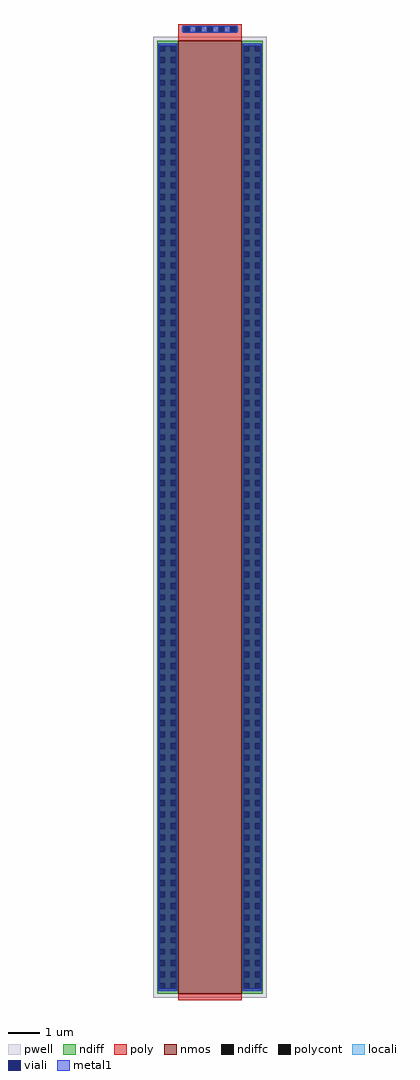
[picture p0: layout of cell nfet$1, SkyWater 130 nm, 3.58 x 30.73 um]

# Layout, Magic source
magic
tech sky130A
magscale 1 2
<< pwell >>
rect -1 14 715 6066
<< nmos >>
rect 157 40 557 6040
<< ndiff >>
rect 25 6009 157 6040
rect 25 5975 38 6009
rect 72 5975 110 6009
rect 144 5975 157 6009
rect 25 5937 157 5975
rect 25 5903 38 5937
rect 72 5903 110 5937
rect 144 5903 157 5937
rect 25 5865 157 5903
rect 25 5831 38 5865
rect 72 5831 110 5865
rect 144 5831 157 5865
rect 25 5793 157 5831
rect 25 5759 38 5793
rect 72 5759 110 5793
rect 144 5759 157 5793
rect 25 5721 157 5759
rect 25 5687 38 5721
rect 72 5687 110 5721
rect 144 5687 157 5721
rect 25 5649 157 5687
rect 25 5615 38 5649
rect 72 5615 110 5649
rect 144 5615 157 5649
rect 25 5577 157 5615
rect 25 5543 38 5577
rect 72 5543 110 5577
rect 144 5543 157 5577
rect 25 5505 157 5543
rect 25 5471 38 5505
rect 72 5471 110 5505
rect 144 5471 157 5505
rect 25 5433 157 5471
rect 25 5399 38 5433
rect 72 5399 110 5433
rect 144 5399 157 5433
rect 25 5361 157 5399
rect 25 5327 38 5361
rect 72 5327 110 5361
rect 144 5327 157 5361
rect 25 5289 157 5327
rect 25 5255 38 5289
rect 72 5255 110 5289
rect 144 5255 157 5289
rect 25 5217 157 5255
rect 25 5183 38 5217
rect 72 5183 110 5217
rect 144 5183 157 5217
rect 25 5145 157 5183
rect 25 5111 38 5145
rect 72 5111 110 5145
rect 144 5111 157 5145
rect 25 5073 157 5111
rect 25 5039 38 5073
rect 72 5039 110 5073
rect 144 5039 157 5073
rect 25 5001 157 5039
rect 25 4967 38 5001
rect 72 4967 110 5001
rect 144 4967 157 5001
rect 25 4929 157 4967
rect 25 4895 38 4929
rect 72 4895 110 4929
rect 144 4895 157 4929
rect 25 4857 157 4895
rect 25 4823 38 4857
rect 72 4823 110 4857
rect 144 4823 157 4857
rect 25 4785 157 4823
rect 25 4751 38 4785
rect 72 4751 110 4785
rect 144 4751 157 4785
rect 25 4713 157 4751
rect 25 4679 38 4713
rect 72 4679 110 4713
rect 144 4679 157 4713
rect 25 4641 157 4679
rect 25 4607 38 4641
rect 72 4607 110 4641
rect 144 4607 157 4641
rect 25 4569 157 4607
rect 25 4535 38 4569
rect 72 4535 110 4569
rect 144 4535 157 4569
rect 25 4497 157 4535
rect 25 4463 38 4497
rect 72 4463 110 4497
rect 144 4463 157 4497
rect 25 4425 157 4463
rect 25 4391 38 4425
rect 72 4391 110 4425
rect 144 4391 157 4425
rect 25 4353 157 4391
rect 25 4319 38 4353
rect 72 4319 110 4353
rect 144 4319 157 4353
rect 25 4281 157 4319
rect 25 4247 38 4281
rect 72 4247 110 4281
rect 144 4247 157 4281
rect 25 4209 157 4247
rect 25 4175 38 4209
rect 72 4175 110 4209
rect 144 4175 157 4209
rect 25 4137 157 4175
rect 25 4103 38 4137
rect 72 4103 110 4137
rect 144 4103 157 4137
rect 25 4065 157 4103
rect 25 4031 38 4065
rect 72 4031 110 4065
rect 144 4031 157 4065
rect 25 3993 157 4031
rect 25 3959 38 3993
rect 72 3959 110 3993
rect 144 3959 157 3993
rect 25 3921 157 3959
rect 25 3887 38 3921
rect 72 3887 110 3921
rect 144 3887 157 3921
rect 25 3849 157 3887
rect 25 3815 38 3849
rect 72 3815 110 3849
rect 144 3815 157 3849
rect 25 3777 157 3815
rect 25 3743 38 3777
rect 72 3743 110 3777
rect 144 3743 157 3777
rect 25 3705 157 3743
rect 25 3671 38 3705
rect 72 3671 110 3705
rect 144 3671 157 3705
rect 25 3633 157 3671
rect 25 3599 38 3633
rect 72 3599 110 3633
rect 144 3599 157 3633
rect 25 3561 157 3599
rect 25 3527 38 3561
rect 72 3527 110 3561
rect 144 3527 157 3561
rect 25 3489 157 3527
rect 25 3455 38 3489
rect 72 3455 110 3489
rect 144 3455 157 3489
rect 25 3417 157 3455
rect 25 3383 38 3417
rect 72 3383 110 3417
rect 144 3383 157 3417
rect 25 3345 157 3383
rect 25 3311 38 3345
rect 72 3311 110 3345
rect 144 3311 157 3345
rect 25 3273 157 3311
rect 25 3239 38 3273
rect 72 3239 110 3273
rect 144 3239 157 3273
rect 25 3201 157 3239
rect 25 3167 38 3201
rect 72 3167 110 3201
rect 144 3167 157 3201
rect 25 3129 157 3167
rect 25 3095 38 3129
rect 72 3095 110 3129
rect 144 3095 157 3129
rect 25 3057 157 3095
rect 25 3023 38 3057
rect 72 3023 110 3057
rect 144 3023 157 3057
rect 25 2985 157 3023
rect 25 2951 38 2985
rect 72 2951 110 2985
rect 144 2951 157 2985
rect 25 2913 157 2951
rect 25 2879 38 2913
rect 72 2879 110 2913
rect 144 2879 157 2913
rect 25 2841 157 2879
rect 25 2807 38 2841
rect 72 2807 110 2841
rect 144 2807 157 2841
rect 25 2769 157 2807
rect 25 2735 38 2769
rect 72 2735 110 2769
rect 144 2735 157 2769
rect 25 2697 157 2735
rect 25 2663 38 2697
rect 72 2663 110 2697
rect 144 2663 157 2697
rect 25 2625 157 2663
rect 25 2591 38 2625
rect 72 2591 110 2625
rect 144 2591 157 2625
rect 25 2553 157 2591
rect 25 2519 38 2553
rect 72 2519 110 2553
rect 144 2519 157 2553
rect 25 2481 157 2519
rect 25 2447 38 2481
rect 72 2447 110 2481
rect 144 2447 157 2481
rect 25 2409 157 2447
rect 25 2375 38 2409
rect 72 2375 110 2409
rect 144 2375 157 2409
rect 25 2337 157 2375
rect 25 2303 38 2337
rect 72 2303 110 2337
rect 144 2303 157 2337
rect 25 2265 157 2303
rect 25 2231 38 2265
rect 72 2231 110 2265
rect 144 2231 157 2265
rect 25 2193 157 2231
rect 25 2159 38 2193
rect 72 2159 110 2193
rect 144 2159 157 2193
rect 25 2121 157 2159
rect 25 2087 38 2121
rect 72 2087 110 2121
rect 144 2087 157 2121
rect 25 2049 157 2087
rect 25 2015 38 2049
rect 72 2015 110 2049
rect 144 2015 157 2049
rect 25 1977 157 2015
rect 25 1943 38 1977
rect 72 1943 110 1977
rect 144 1943 157 1977
rect 25 1905 157 1943
rect 25 1871 38 1905
rect 72 1871 110 1905
rect 144 1871 157 1905
rect 25 1833 157 1871
rect 25 1799 38 1833
rect 72 1799 110 1833
rect 144 1799 157 1833
rect 25 1761 157 1799
rect 25 1727 38 1761
rect 72 1727 110 1761
rect 144 1727 157 1761
rect 25 1689 157 1727
rect 25 1655 38 1689
rect 72 1655 110 1689
rect 144 1655 157 1689
rect 25 1617 157 1655
rect 25 1583 38 1617
rect 72 1583 110 1617
rect 144 1583 157 1617
rect 25 1545 157 1583
rect 25 1511 38 1545
rect 72 1511 110 1545
rect 144 1511 157 1545
rect 25 1473 157 1511
rect 25 1439 38 1473
rect 72 1439 110 1473
rect 144 1439 157 1473
rect 25 1401 157 1439
rect 25 1367 38 1401
rect 72 1367 110 1401
rect 144 1367 157 1401
rect 25 1329 157 1367
rect 25 1295 38 1329
rect 72 1295 110 1329
rect 144 1295 157 1329
rect 25 1257 157 1295
rect 25 1223 38 1257
rect 72 1223 110 1257
rect 144 1223 157 1257
rect 25 1185 157 1223
rect 25 1151 38 1185
rect 72 1151 110 1185
rect 144 1151 157 1185
rect 25 1113 157 1151
rect 25 1079 38 1113
rect 72 1079 110 1113
rect 144 1079 157 1113
rect 25 1041 157 1079
rect 25 1007 38 1041
rect 72 1007 110 1041
rect 144 1007 157 1041
rect 25 969 157 1007
rect 25 935 38 969
rect 72 935 110 969
rect 144 935 157 969
rect 25 897 157 935
rect 25 863 38 897
rect 72 863 110 897
rect 144 863 157 897
rect 25 825 157 863
rect 25 791 38 825
rect 72 791 110 825
rect 144 791 157 825
rect 25 753 157 791
rect 25 719 38 753
rect 72 719 110 753
rect 144 719 157 753
rect 25 681 157 719
rect 25 647 38 681
rect 72 647 110 681
rect 144 647 157 681
rect 25 609 157 647
rect 25 575 38 609
rect 72 575 110 609
rect 144 575 157 609
rect 25 537 157 575
rect 25 503 38 537
rect 72 503 110 537
rect 144 503 157 537
rect 25 465 157 503
rect 25 431 38 465
rect 72 431 110 465
rect 144 431 157 465
rect 25 393 157 431
rect 25 359 38 393
rect 72 359 110 393
rect 144 359 157 393
rect 25 321 157 359
rect 25 287 38 321
rect 72 287 110 321
rect 144 287 157 321
rect 25 249 157 287
rect 25 215 38 249
rect 72 215 110 249
rect 144 215 157 249
rect 25 177 157 215
rect 25 143 38 177
rect 72 143 110 177
rect 144 143 157 177
rect 25 105 157 143
rect 25 71 38 105
rect 72 71 110 105
rect 144 71 157 105
rect 25 40 157 71
rect 557 6009 689 6040
rect 557 5975 570 6009
rect 604 5975 642 6009
rect 676 5975 689 6009
rect 557 5937 689 5975
rect 557 5903 570 5937
rect 604 5903 642 5937
rect 676 5903 689 5937
rect 557 5865 689 5903
rect 557 5831 570 5865
rect 604 5831 642 5865
rect 676 5831 689 5865
rect 557 5793 689 5831
rect 557 5759 570 5793
rect 604 5759 642 5793
rect 676 5759 689 5793
rect 557 5721 689 5759
rect 557 5687 570 5721
rect 604 5687 642 5721
rect 676 5687 689 5721
rect 557 5649 689 5687
rect 557 5615 570 5649
rect 604 5615 642 5649
rect 676 5615 689 5649
rect 557 5577 689 5615
rect 557 5543 570 5577
rect 604 5543 642 5577
rect 676 5543 689 5577
rect 557 5505 689 5543
rect 557 5471 570 5505
rect 604 5471 642 5505
rect 676 5471 689 5505
rect 557 5433 689 5471
rect 557 5399 570 5433
rect 604 5399 642 5433
rect 676 5399 689 5433
rect 557 5361 689 5399
rect 557 5327 570 5361
rect 604 5327 642 5361
rect 676 5327 689 5361
rect 557 5289 689 5327
rect 557 5255 570 5289
rect 604 5255 642 5289
rect 676 5255 689 5289
rect 557 5217 689 5255
rect 557 5183 570 5217
rect 604 5183 642 5217
rect 676 5183 689 5217
rect 557 5145 689 5183
rect 557 5111 570 5145
rect 604 5111 642 5145
rect 676 5111 689 5145
rect 557 5073 689 5111
rect 557 5039 570 5073
rect 604 5039 642 5073
rect 676 5039 689 5073
rect 557 5001 689 5039
rect 557 4967 570 5001
rect 604 4967 642 5001
rect 676 4967 689 5001
rect 557 4929 689 4967
rect 557 4895 570 4929
rect 604 4895 642 4929
rect 676 4895 689 4929
rect 557 4857 689 4895
rect 557 4823 570 4857
rect 604 4823 642 4857
rect 676 4823 689 4857
rect 557 4785 689 4823
rect 557 4751 570 4785
rect 604 4751 642 4785
rect 676 4751 689 4785
rect 557 4713 689 4751
rect 557 4679 570 4713
rect 604 4679 642 4713
rect 676 4679 689 4713
rect 557 4641 689 4679
rect 557 4607 570 4641
rect 604 4607 642 4641
rect 676 4607 689 4641
rect 557 4569 689 4607
rect 557 4535 570 4569
rect 604 4535 642 4569
rect 676 4535 689 4569
rect 557 4497 689 4535
rect 557 4463 570 4497
rect 604 4463 642 4497
rect 676 4463 689 4497
rect 557 4425 689 4463
rect 557 4391 570 4425
rect 604 4391 642 4425
rect 676 4391 689 4425
rect 557 4353 689 4391
rect 557 4319 570 4353
rect 604 4319 642 4353
rect 676 4319 689 4353
rect 557 4281 689 4319
rect 557 4247 570 4281
rect 604 4247 642 4281
rect 676 4247 689 4281
rect 557 4209 689 4247
rect 557 4175 570 4209
rect 604 4175 642 4209
rect 676 4175 689 4209
rect 557 4137 689 4175
rect 557 4103 570 4137
rect 604 4103 642 4137
rect 676 4103 689 4137
rect 557 4065 689 4103
rect 557 4031 570 4065
rect 604 4031 642 4065
rect 676 4031 689 4065
rect 557 3993 689 4031
rect 557 3959 570 3993
rect 604 3959 642 3993
rect 676 3959 689 3993
rect 557 3921 689 3959
rect 557 3887 570 3921
rect 604 3887 642 3921
rect 676 3887 689 3921
rect 557 3849 689 3887
rect 557 3815 570 3849
rect 604 3815 642 3849
rect 676 3815 689 3849
rect 557 3777 689 3815
rect 557 3743 570 3777
rect 604 3743 642 3777
rect 676 3743 689 3777
rect 557 3705 689 3743
rect 557 3671 570 3705
rect 604 3671 642 3705
rect 676 3671 689 3705
rect 557 3633 689 3671
rect 557 3599 570 3633
rect 604 3599 642 3633
rect 676 3599 689 3633
rect 557 3561 689 3599
rect 557 3527 570 3561
rect 604 3527 642 3561
rect 676 3527 689 3561
rect 557 3489 689 3527
rect 557 3455 570 3489
rect 604 3455 642 3489
rect 676 3455 689 3489
rect 557 3417 689 3455
rect 557 3383 570 3417
rect 604 3383 642 3417
rect 676 3383 689 3417
rect 557 3345 689 3383
rect 557 3311 570 3345
rect 604 3311 642 3345
rect 676 3311 689 3345
rect 557 3273 689 3311
rect 557 3239 570 3273
rect 604 3239 642 3273
rect 676 3239 689 3273
rect 557 3201 689 3239
rect 557 3167 570 3201
rect 604 3167 642 3201
rect 676 3167 689 3201
rect 557 3129 689 3167
rect 557 3095 570 3129
rect 604 3095 642 3129
rect 676 3095 689 3129
rect 557 3057 689 3095
rect 557 3023 570 3057
rect 604 3023 642 3057
rect 676 3023 689 3057
rect 557 2985 689 3023
rect 557 2951 570 2985
rect 604 2951 642 2985
rect 676 2951 689 2985
rect 557 2913 689 2951
rect 557 2879 570 2913
rect 604 2879 642 2913
rect 676 2879 689 2913
rect 557 2841 689 2879
rect 557 2807 570 2841
rect 604 2807 642 2841
rect 676 2807 689 2841
rect 557 2769 689 2807
rect 557 2735 570 2769
rect 604 2735 642 2769
rect 676 2735 689 2769
rect 557 2697 689 2735
rect 557 2663 570 2697
rect 604 2663 642 2697
rect 676 2663 689 2697
rect 557 2625 689 2663
rect 557 2591 570 2625
rect 604 2591 642 2625
rect 676 2591 689 2625
rect 557 2553 689 2591
rect 557 2519 570 2553
rect 604 2519 642 2553
rect 676 2519 689 2553
rect 557 2481 689 2519
rect 557 2447 570 2481
rect 604 2447 642 2481
rect 676 2447 689 2481
rect 557 2409 689 2447
rect 557 2375 570 2409
rect 604 2375 642 2409
rect 676 2375 689 2409
rect 557 2337 689 2375
rect 557 2303 570 2337
rect 604 2303 642 2337
rect 676 2303 689 2337
rect 557 2265 689 2303
rect 557 2231 570 2265
rect 604 2231 642 2265
rect 676 2231 689 2265
rect 557 2193 689 2231
rect 557 2159 570 2193
rect 604 2159 642 2193
rect 676 2159 689 2193
rect 557 2121 689 2159
rect 557 2087 570 2121
rect 604 2087 642 2121
rect 676 2087 689 2121
rect 557 2049 689 2087
rect 557 2015 570 2049
rect 604 2015 642 2049
rect 676 2015 689 2049
rect 557 1977 689 2015
rect 557 1943 570 1977
rect 604 1943 642 1977
rect 676 1943 689 1977
rect 557 1905 689 1943
rect 557 1871 570 1905
rect 604 1871 642 1905
rect 676 1871 689 1905
rect 557 1833 689 1871
rect 557 1799 570 1833
rect 604 1799 642 1833
rect 676 1799 689 1833
rect 557 1761 689 1799
rect 557 1727 570 1761
rect 604 1727 642 1761
rect 676 1727 689 1761
rect 557 1689 689 1727
rect 557 1655 570 1689
rect 604 1655 642 1689
rect 676 1655 689 1689
rect 557 1617 689 1655
rect 557 1583 570 1617
rect 604 1583 642 1617
rect 676 1583 689 1617
rect 557 1545 689 1583
rect 557 1511 570 1545
rect 604 1511 642 1545
rect 676 1511 689 1545
rect 557 1473 689 1511
rect 557 1439 570 1473
rect 604 1439 642 1473
rect 676 1439 689 1473
rect 557 1401 689 1439
rect 557 1367 570 1401
rect 604 1367 642 1401
rect 676 1367 689 1401
rect 557 1329 689 1367
rect 557 1295 570 1329
rect 604 1295 642 1329
rect 676 1295 689 1329
rect 557 1257 689 1295
rect 557 1223 570 1257
rect 604 1223 642 1257
rect 676 1223 689 1257
rect 557 1185 689 1223
rect 557 1151 570 1185
rect 604 1151 642 1185
rect 676 1151 689 1185
rect 557 1113 689 1151
rect 557 1079 570 1113
rect 604 1079 642 1113
rect 676 1079 689 1113
rect 557 1041 689 1079
rect 557 1007 570 1041
rect 604 1007 642 1041
rect 676 1007 689 1041
rect 557 969 689 1007
rect 557 935 570 969
rect 604 935 642 969
rect 676 935 689 969
rect 557 897 689 935
rect 557 863 570 897
rect 604 863 642 897
rect 676 863 689 897
rect 557 825 689 863
rect 557 791 570 825
rect 604 791 642 825
rect 676 791 689 825
rect 557 753 689 791
rect 557 719 570 753
rect 604 719 642 753
rect 676 719 689 753
rect 557 681 689 719
rect 557 647 570 681
rect 604 647 642 681
rect 676 647 689 681
rect 557 609 689 647
rect 557 575 570 609
rect 604 575 642 609
rect 676 575 689 609
rect 557 537 689 575
rect 557 503 570 537
rect 604 503 642 537
rect 676 503 689 537
rect 557 465 689 503
rect 557 431 570 465
rect 604 431 642 465
rect 676 431 689 465
rect 557 393 689 431
rect 557 359 570 393
rect 604 359 642 393
rect 676 359 689 393
rect 557 321 689 359
rect 557 287 570 321
rect 604 287 642 321
rect 676 287 689 321
rect 557 249 689 287
rect 557 215 570 249
rect 604 215 642 249
rect 676 215 689 249
rect 557 177 689 215
rect 557 143 570 177
rect 604 143 642 177
rect 676 143 689 177
rect 557 105 689 143
rect 557 71 570 105
rect 604 71 642 105
rect 676 71 689 105
rect 557 40 689 71
<< ndiffc >>
rect 38 5975 72 6009
rect 110 5975 144 6009
rect 38 5903 72 5937
rect 110 5903 144 5937
rect 38 5831 72 5865
rect 110 5831 144 5865
rect 38 5759 72 5793
rect 110 5759 144 5793
rect 38 5687 72 5721
rect 110 5687 144 5721
rect 38 5615 72 5649
rect 110 5615 144 5649
rect 38 5543 72 5577
rect 110 5543 144 5577
rect 38 5471 72 5505
rect 110 5471 144 5505
rect 38 5399 72 5433
rect 110 5399 144 5433
rect 38 5327 72 5361
rect 110 5327 144 5361
rect 38 5255 72 5289
rect 110 5255 144 5289
rect 38 5183 72 5217
rect 110 5183 144 5217
rect 38 5111 72 5145
rect 110 5111 144 5145
rect 38 5039 72 5073
rect 110 5039 144 5073
rect 38 4967 72 5001
rect 110 4967 144 5001
rect 38 4895 72 4929
rect 110 4895 144 4929
rect 38 4823 72 4857
rect 110 4823 144 4857
rect 38 4751 72 4785
rect 110 4751 144 4785
rect 38 4679 72 4713
rect 110 4679 144 4713
rect 38 4607 72 4641
rect 110 4607 144 4641
rect 38 4535 72 4569
rect 110 4535 144 4569
rect 38 4463 72 4497
rect 110 4463 144 4497
rect 38 4391 72 4425
rect 110 4391 144 4425
rect 38 4319 72 4353
rect 110 4319 144 4353
rect 38 4247 72 4281
rect 110 4247 144 4281
rect 38 4175 72 4209
rect 110 4175 144 4209
rect 38 4103 72 4137
rect 110 4103 144 4137
rect 38 4031 72 4065
rect 110 4031 144 4065
rect 38 3959 72 3993
rect 110 3959 144 3993
rect 38 3887 72 3921
rect 110 3887 144 3921
rect 38 3815 72 3849
rect 110 3815 144 3849
rect 38 3743 72 3777
rect 110 3743 144 3777
rect 38 3671 72 3705
rect 110 3671 144 3705
rect 38 3599 72 3633
rect 110 3599 144 3633
rect 38 3527 72 3561
rect 110 3527 144 3561
rect 38 3455 72 3489
rect 110 3455 144 3489
rect 38 3383 72 3417
rect 110 3383 144 3417
rect 38 3311 72 3345
rect 110 3311 144 3345
rect 38 3239 72 3273
rect 110 3239 144 3273
rect 38 3167 72 3201
rect 110 3167 144 3201
rect 38 3095 72 3129
rect 110 3095 144 3129
rect 38 3023 72 3057
rect 110 3023 144 3057
rect 38 2951 72 2985
rect 110 2951 144 2985
rect 38 2879 72 2913
rect 110 2879 144 2913
rect 38 2807 72 2841
rect 110 2807 144 2841
rect 38 2735 72 2769
rect 110 2735 144 2769
rect 38 2663 72 2697
rect 110 2663 144 2697
rect 38 2591 72 2625
rect 110 2591 144 2625
rect 38 2519 72 2553
rect 110 2519 144 2553
rect 38 2447 72 2481
rect 110 2447 144 2481
rect 38 2375 72 2409
rect 110 2375 144 2409
rect 38 2303 72 2337
rect 110 2303 144 2337
rect 38 2231 72 2265
rect 110 2231 144 2265
rect 38 2159 72 2193
rect 110 2159 144 2193
rect 38 2087 72 2121
rect 110 2087 144 2121
rect 38 2015 72 2049
rect 110 2015 144 2049
rect 38 1943 72 1977
rect 110 1943 144 1977
rect 38 1871 72 1905
rect 110 1871 144 1905
rect 38 1799 72 1833
rect 110 1799 144 1833
rect 38 1727 72 1761
rect 110 1727 144 1761
rect 38 1655 72 1689
rect 110 1655 144 1689
rect 38 1583 72 1617
rect 110 1583 144 1617
rect 38 1511 72 1545
rect 110 1511 144 1545
rect 38 1439 72 1473
rect 110 1439 144 1473
rect 38 1367 72 1401
rect 110 1367 144 1401
rect 38 1295 72 1329
rect 110 1295 144 1329
rect 38 1223 72 1257
rect 110 1223 144 1257
rect 38 1151 72 1185
rect 110 1151 144 1185
rect 38 1079 72 1113
rect 110 1079 144 1113
rect 38 1007 72 1041
rect 110 1007 144 1041
rect 38 935 72 969
rect 110 935 144 969
rect 38 863 72 897
rect 110 863 144 897
rect 38 791 72 825
rect 110 791 144 825
rect 38 719 72 753
rect 110 719 144 753
rect 38 647 72 681
rect 110 647 144 681
rect 38 575 72 609
rect 110 575 144 609
rect 38 503 72 537
rect 110 503 144 537
rect 38 431 72 465
rect 110 431 144 465
rect 38 359 72 393
rect 110 359 144 393
rect 38 287 72 321
rect 110 287 144 321
rect 38 215 72 249
rect 110 215 144 249
rect 38 143 72 177
rect 110 143 144 177
rect 38 71 72 105
rect 110 71 144 105
rect 570 5975 604 6009
rect 642 5975 676 6009
rect 570 5903 604 5937
rect 642 5903 676 5937
rect 570 5831 604 5865
rect 642 5831 676 5865
rect 570 5759 604 5793
rect 642 5759 676 5793
rect 570 5687 604 5721
rect 642 5687 676 5721
rect 570 5615 604 5649
rect 642 5615 676 5649
rect 570 5543 604 5577
rect 642 5543 676 5577
rect 570 5471 604 5505
rect 642 5471 676 5505
rect 570 5399 604 5433
rect 642 5399 676 5433
rect 570 5327 604 5361
rect 642 5327 676 5361
rect 570 5255 604 5289
rect 642 5255 676 5289
rect 570 5183 604 5217
rect 642 5183 676 5217
rect 570 5111 604 5145
rect 642 5111 676 5145
rect 570 5039 604 5073
rect 642 5039 676 5073
rect 570 4967 604 5001
rect 642 4967 676 5001
rect 570 4895 604 4929
rect 642 4895 676 4929
rect 570 4823 604 4857
rect 642 4823 676 4857
rect 570 4751 604 4785
rect 642 4751 676 4785
rect 570 4679 604 4713
rect 642 4679 676 4713
rect 570 4607 604 4641
rect 642 4607 676 4641
rect 570 4535 604 4569
rect 642 4535 676 4569
rect 570 4463 604 4497
rect 642 4463 676 4497
rect 570 4391 604 4425
rect 642 4391 676 4425
rect 570 4319 604 4353
rect 642 4319 676 4353
rect 570 4247 604 4281
rect 642 4247 676 4281
rect 570 4175 604 4209
rect 642 4175 676 4209
rect 570 4103 604 4137
rect 642 4103 676 4137
rect 570 4031 604 4065
rect 642 4031 676 4065
rect 570 3959 604 3993
rect 642 3959 676 3993
rect 570 3887 604 3921
rect 642 3887 676 3921
rect 570 3815 604 3849
rect 642 3815 676 3849
rect 570 3743 604 3777
rect 642 3743 676 3777
rect 570 3671 604 3705
rect 642 3671 676 3705
rect 570 3599 604 3633
rect 642 3599 676 3633
rect 570 3527 604 3561
rect 642 3527 676 3561
rect 570 3455 604 3489
rect 642 3455 676 3489
rect 570 3383 604 3417
rect 642 3383 676 3417
rect 570 3311 604 3345
rect 642 3311 676 3345
rect 570 3239 604 3273
rect 642 3239 676 3273
rect 570 3167 604 3201
rect 642 3167 676 3201
rect 570 3095 604 3129
rect 642 3095 676 3129
rect 570 3023 604 3057
rect 642 3023 676 3057
rect 570 2951 604 2985
rect 642 2951 676 2985
rect 570 2879 604 2913
rect 642 2879 676 2913
rect 570 2807 604 2841
rect 642 2807 676 2841
rect 570 2735 604 2769
rect 642 2735 676 2769
rect 570 2663 604 2697
rect 642 2663 676 2697
rect 570 2591 604 2625
rect 642 2591 676 2625
rect 570 2519 604 2553
rect 642 2519 676 2553
rect 570 2447 604 2481
rect 642 2447 676 2481
rect 570 2375 604 2409
rect 642 2375 676 2409
rect 570 2303 604 2337
rect 642 2303 676 2337
rect 570 2231 604 2265
rect 642 2231 676 2265
rect 570 2159 604 2193
rect 642 2159 676 2193
rect 570 2087 604 2121
rect 642 2087 676 2121
rect 570 2015 604 2049
rect 642 2015 676 2049
rect 570 1943 604 1977
rect 642 1943 676 1977
rect 570 1871 604 1905
rect 642 1871 676 1905
rect 570 1799 604 1833
rect 642 1799 676 1833
rect 570 1727 604 1761
rect 642 1727 676 1761
rect 570 1655 604 1689
rect 642 1655 676 1689
rect 570 1583 604 1617
rect 642 1583 676 1617
rect 570 1511 604 1545
rect 642 1511 676 1545
rect 570 1439 604 1473
rect 642 1439 676 1473
rect 570 1367 604 1401
rect 642 1367 676 1401
rect 570 1295 604 1329
rect 642 1295 676 1329
rect 570 1223 604 1257
rect 642 1223 676 1257
rect 570 1151 604 1185
rect 642 1151 676 1185
rect 570 1079 604 1113
rect 642 1079 676 1113
rect 570 1007 604 1041
rect 642 1007 676 1041
rect 570 935 604 969
rect 642 935 676 969
rect 570 863 604 897
rect 642 863 676 897
rect 570 791 604 825
rect 642 791 676 825
rect 570 719 604 753
rect 642 719 676 753
rect 570 647 604 681
rect 642 647 676 681
rect 570 575 604 609
rect 642 575 676 609
rect 570 503 604 537
rect 642 503 676 537
rect 570 431 604 465
rect 642 431 676 465
rect 570 359 604 393
rect 642 359 676 393
rect 570 287 604 321
rect 642 287 676 321
rect 570 215 604 249
rect 642 215 676 249
rect 570 143 604 177
rect 642 143 676 177
rect 570 71 604 105
rect 642 71 676 105
<< poly >>
rect 157 6130 557 6146
rect 157 6096 196 6130
rect 230 6096 268 6130
rect 302 6096 340 6130
rect 374 6096 412 6130
rect 446 6096 484 6130
rect 518 6096 557 6130
rect 157 6040 557 6096
rect 157 0 557 40
<< polycont >>
rect 196 6096 230 6130
rect 268 6096 302 6130
rect 340 6096 374 6130
rect 412 6096 446 6130
rect 484 6096 518 6130
<< locali >>
rect 180 6096 196 6130
rect 230 6096 268 6130
rect 302 6096 340 6130
rect 374 6096 412 6130
rect 446 6096 484 6130
rect 518 6096 534 6130
rect 38 6009 144 6025
rect 38 55 144 71
rect 570 6009 676 6025
rect 570 55 676 71
<< viali >>
rect 196 6096 230 6130
rect 268 6096 302 6130
rect 340 6096 374 6130
rect 412 6096 446 6130
rect 484 6096 518 6130
rect 38 5975 72 6009
rect 72 5975 110 6009
rect 110 5975 144 6009
rect 38 5937 144 5975
rect 38 5903 72 5937
rect 72 5903 110 5937
rect 110 5903 144 5937
rect 38 5865 144 5903
rect 38 5831 72 5865
rect 72 5831 110 5865
rect 110 5831 144 5865
rect 38 5793 144 5831
rect 38 5759 72 5793
rect 72 5759 110 5793
rect 110 5759 144 5793
rect 38 5721 144 5759
rect 38 5687 72 5721
rect 72 5687 110 5721
rect 110 5687 144 5721
rect 38 5649 144 5687
rect 38 5615 72 5649
rect 72 5615 110 5649
rect 110 5615 144 5649
rect 38 5577 144 5615
rect 38 5543 72 5577
rect 72 5543 110 5577
rect 110 5543 144 5577
rect 38 5505 144 5543
rect 38 5471 72 5505
rect 72 5471 110 5505
rect 110 5471 144 5505
rect 38 5433 144 5471
rect 38 5399 72 5433
rect 72 5399 110 5433
rect 110 5399 144 5433
rect 38 5361 144 5399
rect 38 5327 72 5361
rect 72 5327 110 5361
rect 110 5327 144 5361
rect 38 5289 144 5327
rect 38 5255 72 5289
rect 72 5255 110 5289
rect 110 5255 144 5289
rect 38 5217 144 5255
rect 38 5183 72 5217
rect 72 5183 110 5217
rect 110 5183 144 5217
rect 38 5145 144 5183
rect 38 5111 72 5145
rect 72 5111 110 5145
rect 110 5111 144 5145
rect 38 5073 144 5111
rect 38 5039 72 5073
rect 72 5039 110 5073
rect 110 5039 144 5073
rect 38 5001 144 5039
rect 38 4967 72 5001
rect 72 4967 110 5001
rect 110 4967 144 5001
rect 38 4929 144 4967
rect 38 4895 72 4929
rect 72 4895 110 4929
rect 110 4895 144 4929
rect 38 4857 144 4895
rect 38 4823 72 4857
rect 72 4823 110 4857
rect 110 4823 144 4857
rect 38 4785 144 4823
rect 38 4751 72 4785
rect 72 4751 110 4785
rect 110 4751 144 4785
rect 38 4713 144 4751
rect 38 4679 72 4713
rect 72 4679 110 4713
rect 110 4679 144 4713
rect 38 4641 144 4679
rect 38 4607 72 4641
rect 72 4607 110 4641
rect 110 4607 144 4641
rect 38 4569 144 4607
rect 38 4535 72 4569
rect 72 4535 110 4569
rect 110 4535 144 4569
rect 38 4497 144 4535
rect 38 4463 72 4497
rect 72 4463 110 4497
rect 110 4463 144 4497
rect 38 4425 144 4463
rect 38 4391 72 4425
rect 72 4391 110 4425
rect 110 4391 144 4425
rect 38 4353 144 4391
rect 38 4319 72 4353
rect 72 4319 110 4353
rect 110 4319 144 4353
rect 38 4281 144 4319
rect 38 4247 72 4281
rect 72 4247 110 4281
rect 110 4247 144 4281
rect 38 4209 144 4247
rect 38 4175 72 4209
rect 72 4175 110 4209
rect 110 4175 144 4209
rect 38 4137 144 4175
rect 38 4103 72 4137
rect 72 4103 110 4137
rect 110 4103 144 4137
rect 38 4065 144 4103
rect 38 4031 72 4065
rect 72 4031 110 4065
rect 110 4031 144 4065
rect 38 3993 144 4031
rect 38 3959 72 3993
rect 72 3959 110 3993
rect 110 3959 144 3993
rect 38 3921 144 3959
rect 38 3887 72 3921
rect 72 3887 110 3921
rect 110 3887 144 3921
rect 38 3849 144 3887
rect 38 3815 72 3849
rect 72 3815 110 3849
rect 110 3815 144 3849
rect 38 3777 144 3815
rect 38 3743 72 3777
rect 72 3743 110 3777
rect 110 3743 144 3777
rect 38 3705 144 3743
rect 38 3671 72 3705
rect 72 3671 110 3705
rect 110 3671 144 3705
rect 38 3633 144 3671
rect 38 3599 72 3633
rect 72 3599 110 3633
rect 110 3599 144 3633
rect 38 3561 144 3599
rect 38 3527 72 3561
rect 72 3527 110 3561
rect 110 3527 144 3561
rect 38 3489 144 3527
rect 38 3455 72 3489
rect 72 3455 110 3489
rect 110 3455 144 3489
rect 38 3417 144 3455
rect 38 3383 72 3417
rect 72 3383 110 3417
rect 110 3383 144 3417
rect 38 3345 144 3383
rect 38 3311 72 3345
rect 72 3311 110 3345
rect 110 3311 144 3345
rect 38 3273 144 3311
rect 38 3239 72 3273
rect 72 3239 110 3273
rect 110 3239 144 3273
rect 38 3201 144 3239
rect 38 3167 72 3201
rect 72 3167 110 3201
rect 110 3167 144 3201
rect 38 3129 144 3167
rect 38 3095 72 3129
rect 72 3095 110 3129
rect 110 3095 144 3129
rect 38 3057 144 3095
rect 38 3023 72 3057
rect 72 3023 110 3057
rect 110 3023 144 3057
rect 38 2985 144 3023
rect 38 2951 72 2985
rect 72 2951 110 2985
rect 110 2951 144 2985
rect 38 2913 144 2951
rect 38 2879 72 2913
rect 72 2879 110 2913
rect 110 2879 144 2913
rect 38 2841 144 2879
rect 38 2807 72 2841
rect 72 2807 110 2841
rect 110 2807 144 2841
rect 38 2769 144 2807
rect 38 2735 72 2769
rect 72 2735 110 2769
rect 110 2735 144 2769
rect 38 2697 144 2735
rect 38 2663 72 2697
rect 72 2663 110 2697
rect 110 2663 144 2697
rect 38 2625 144 2663
rect 38 2591 72 2625
rect 72 2591 110 2625
rect 110 2591 144 2625
rect 38 2553 144 2591
rect 38 2519 72 2553
rect 72 2519 110 2553
rect 110 2519 144 2553
rect 38 2481 144 2519
rect 38 2447 72 2481
rect 72 2447 110 2481
rect 110 2447 144 2481
rect 38 2409 144 2447
rect 38 2375 72 2409
rect 72 2375 110 2409
rect 110 2375 144 2409
rect 38 2337 144 2375
rect 38 2303 72 2337
rect 72 2303 110 2337
rect 110 2303 144 2337
rect 38 2265 144 2303
rect 38 2231 72 2265
rect 72 2231 110 2265
rect 110 2231 144 2265
rect 38 2193 144 2231
rect 38 2159 72 2193
rect 72 2159 110 2193
rect 110 2159 144 2193
rect 38 2121 144 2159
rect 38 2087 72 2121
rect 72 2087 110 2121
rect 110 2087 144 2121
rect 38 2049 144 2087
rect 38 2015 72 2049
rect 72 2015 110 2049
rect 110 2015 144 2049
rect 38 1977 144 2015
rect 38 1943 72 1977
rect 72 1943 110 1977
rect 110 1943 144 1977
rect 38 1905 144 1943
rect 38 1871 72 1905
rect 72 1871 110 1905
rect 110 1871 144 1905
rect 38 1833 144 1871
rect 38 1799 72 1833
rect 72 1799 110 1833
rect 110 1799 144 1833
rect 38 1761 144 1799
rect 38 1727 72 1761
rect 72 1727 110 1761
rect 110 1727 144 1761
rect 38 1689 144 1727
rect 38 1655 72 1689
rect 72 1655 110 1689
rect 110 1655 144 1689
rect 38 1617 144 1655
rect 38 1583 72 1617
rect 72 1583 110 1617
rect 110 1583 144 1617
rect 38 1545 144 1583
rect 38 1511 72 1545
rect 72 1511 110 1545
rect 110 1511 144 1545
rect 38 1473 144 1511
rect 38 1439 72 1473
rect 72 1439 110 1473
rect 110 1439 144 1473
rect 38 1401 144 1439
rect 38 1367 72 1401
rect 72 1367 110 1401
rect 110 1367 144 1401
rect 38 1329 144 1367
rect 38 1295 72 1329
rect 72 1295 110 1329
rect 110 1295 144 1329
rect 38 1257 144 1295
rect 38 1223 72 1257
rect 72 1223 110 1257
rect 110 1223 144 1257
rect 38 1185 144 1223
rect 38 1151 72 1185
rect 72 1151 110 1185
rect 110 1151 144 1185
rect 38 1113 144 1151
rect 38 1079 72 1113
rect 72 1079 110 1113
rect 110 1079 144 1113
rect 38 1041 144 1079
rect 38 1007 72 1041
rect 72 1007 110 1041
rect 110 1007 144 1041
rect 38 969 144 1007
rect 38 935 72 969
rect 72 935 110 969
rect 110 935 144 969
rect 38 897 144 935
rect 38 863 72 897
rect 72 863 110 897
rect 110 863 144 897
rect 38 825 144 863
rect 38 791 72 825
rect 72 791 110 825
rect 110 791 144 825
rect 38 753 144 791
rect 38 719 72 753
rect 72 719 110 753
rect 110 719 144 753
rect 38 681 144 719
rect 38 647 72 681
rect 72 647 110 681
rect 110 647 144 681
rect 38 609 144 647
rect 38 575 72 609
rect 72 575 110 609
rect 110 575 144 609
rect 38 537 144 575
rect 38 503 72 537
rect 72 503 110 537
rect 110 503 144 537
rect 38 465 144 503
rect 38 431 72 465
rect 72 431 110 465
rect 110 431 144 465
rect 38 393 144 431
rect 38 359 72 393
rect 72 359 110 393
rect 110 359 144 393
rect 38 321 144 359
rect 38 287 72 321
rect 72 287 110 321
rect 110 287 144 321
rect 38 249 144 287
rect 38 215 72 249
rect 72 215 110 249
rect 110 215 144 249
rect 38 177 144 215
rect 38 143 72 177
rect 72 143 110 177
rect 110 143 144 177
rect 38 105 144 143
rect 38 71 72 105
rect 72 71 110 105
rect 110 71 144 105
rect 570 5975 604 6009
rect 604 5975 642 6009
rect 642 5975 676 6009
rect 570 5937 676 5975
rect 570 5903 604 5937
rect 604 5903 642 5937
rect 642 5903 676 5937
rect 570 5865 676 5903
rect 570 5831 604 5865
rect 604 5831 642 5865
rect 642 5831 676 5865
rect 570 5793 676 5831
rect 570 5759 604 5793
rect 604 5759 642 5793
rect 642 5759 676 5793
rect 570 5721 676 5759
rect 570 5687 604 5721
rect 604 5687 642 5721
rect 642 5687 676 5721
rect 570 5649 676 5687
rect 570 5615 604 5649
rect 604 5615 642 5649
rect 642 5615 676 5649
rect 570 5577 676 5615
rect 570 5543 604 5577
rect 604 5543 642 5577
rect 642 5543 676 5577
rect 570 5505 676 5543
rect 570 5471 604 5505
rect 604 5471 642 5505
rect 642 5471 676 5505
rect 570 5433 676 5471
rect 570 5399 604 5433
rect 604 5399 642 5433
rect 642 5399 676 5433
rect 570 5361 676 5399
rect 570 5327 604 5361
rect 604 5327 642 5361
rect 642 5327 676 5361
rect 570 5289 676 5327
rect 570 5255 604 5289
rect 604 5255 642 5289
rect 642 5255 676 5289
rect 570 5217 676 5255
rect 570 5183 604 5217
rect 604 5183 642 5217
rect 642 5183 676 5217
rect 570 5145 676 5183
rect 570 5111 604 5145
rect 604 5111 642 5145
rect 642 5111 676 5145
rect 570 5073 676 5111
rect 570 5039 604 5073
rect 604 5039 642 5073
rect 642 5039 676 5073
rect 570 5001 676 5039
rect 570 4967 604 5001
rect 604 4967 642 5001
rect 642 4967 676 5001
rect 570 4929 676 4967
rect 570 4895 604 4929
rect 604 4895 642 4929
rect 642 4895 676 4929
rect 570 4857 676 4895
rect 570 4823 604 4857
rect 604 4823 642 4857
rect 642 4823 676 4857
rect 570 4785 676 4823
rect 570 4751 604 4785
rect 604 4751 642 4785
rect 642 4751 676 4785
rect 570 4713 676 4751
rect 570 4679 604 4713
rect 604 4679 642 4713
rect 642 4679 676 4713
rect 570 4641 676 4679
rect 570 4607 604 4641
rect 604 4607 642 4641
rect 642 4607 676 4641
rect 570 4569 676 4607
rect 570 4535 604 4569
rect 604 4535 642 4569
rect 642 4535 676 4569
rect 570 4497 676 4535
rect 570 4463 604 4497
rect 604 4463 642 4497
rect 642 4463 676 4497
rect 570 4425 676 4463
rect 570 4391 604 4425
rect 604 4391 642 4425
rect 642 4391 676 4425
rect 570 4353 676 4391
rect 570 4319 604 4353
rect 604 4319 642 4353
rect 642 4319 676 4353
rect 570 4281 676 4319
rect 570 4247 604 4281
rect 604 4247 642 4281
rect 642 4247 676 4281
rect 570 4209 676 4247
rect 570 4175 604 4209
rect 604 4175 642 4209
rect 642 4175 676 4209
rect 570 4137 676 4175
rect 570 4103 604 4137
rect 604 4103 642 4137
rect 642 4103 676 4137
rect 570 4065 676 4103
rect 570 4031 604 4065
rect 604 4031 642 4065
rect 642 4031 676 4065
rect 570 3993 676 4031
rect 570 3959 604 3993
rect 604 3959 642 3993
rect 642 3959 676 3993
rect 570 3921 676 3959
rect 570 3887 604 3921
rect 604 3887 642 3921
rect 642 3887 676 3921
rect 570 3849 676 3887
rect 570 3815 604 3849
rect 604 3815 642 3849
rect 642 3815 676 3849
rect 570 3777 676 3815
rect 570 3743 604 3777
rect 604 3743 642 3777
rect 642 3743 676 3777
rect 570 3705 676 3743
rect 570 3671 604 3705
rect 604 3671 642 3705
rect 642 3671 676 3705
rect 570 3633 676 3671
rect 570 3599 604 3633
rect 604 3599 642 3633
rect 642 3599 676 3633
rect 570 3561 676 3599
rect 570 3527 604 3561
rect 604 3527 642 3561
rect 642 3527 676 3561
rect 570 3489 676 3527
rect 570 3455 604 3489
rect 604 3455 642 3489
rect 642 3455 676 3489
rect 570 3417 676 3455
rect 570 3383 604 3417
rect 604 3383 642 3417
rect 642 3383 676 3417
rect 570 3345 676 3383
rect 570 3311 604 3345
rect 604 3311 642 3345
rect 642 3311 676 3345
rect 570 3273 676 3311
rect 570 3239 604 3273
rect 604 3239 642 3273
rect 642 3239 676 3273
rect 570 3201 676 3239
rect 570 3167 604 3201
rect 604 3167 642 3201
rect 642 3167 676 3201
rect 570 3129 676 3167
rect 570 3095 604 3129
rect 604 3095 642 3129
rect 642 3095 676 3129
rect 570 3057 676 3095
rect 570 3023 604 3057
rect 604 3023 642 3057
rect 642 3023 676 3057
rect 570 2985 676 3023
rect 570 2951 604 2985
rect 604 2951 642 2985
rect 642 2951 676 2985
rect 570 2913 676 2951
rect 570 2879 604 2913
rect 604 2879 642 2913
rect 642 2879 676 2913
rect 570 2841 676 2879
rect 570 2807 604 2841
rect 604 2807 642 2841
rect 642 2807 676 2841
rect 570 2769 676 2807
rect 570 2735 604 2769
rect 604 2735 642 2769
rect 642 2735 676 2769
rect 570 2697 676 2735
rect 570 2663 604 2697
rect 604 2663 642 2697
rect 642 2663 676 2697
rect 570 2625 676 2663
rect 570 2591 604 2625
rect 604 2591 642 2625
rect 642 2591 676 2625
rect 570 2553 676 2591
rect 570 2519 604 2553
rect 604 2519 642 2553
rect 642 2519 676 2553
rect 570 2481 676 2519
rect 570 2447 604 2481
rect 604 2447 642 2481
rect 642 2447 676 2481
rect 570 2409 676 2447
rect 570 2375 604 2409
rect 604 2375 642 2409
rect 642 2375 676 2409
rect 570 2337 676 2375
rect 570 2303 604 2337
rect 604 2303 642 2337
rect 642 2303 676 2337
rect 570 2265 676 2303
rect 570 2231 604 2265
rect 604 2231 642 2265
rect 642 2231 676 2265
rect 570 2193 676 2231
rect 570 2159 604 2193
rect 604 2159 642 2193
rect 642 2159 676 2193
rect 570 2121 676 2159
rect 570 2087 604 2121
rect 604 2087 642 2121
rect 642 2087 676 2121
rect 570 2049 676 2087
rect 570 2015 604 2049
rect 604 2015 642 2049
rect 642 2015 676 2049
rect 570 1977 676 2015
rect 570 1943 604 1977
rect 604 1943 642 1977
rect 642 1943 676 1977
rect 570 1905 676 1943
rect 570 1871 604 1905
rect 604 1871 642 1905
rect 642 1871 676 1905
rect 570 1833 676 1871
rect 570 1799 604 1833
rect 604 1799 642 1833
rect 642 1799 676 1833
rect 570 1761 676 1799
rect 570 1727 604 1761
rect 604 1727 642 1761
rect 642 1727 676 1761
rect 570 1689 676 1727
rect 570 1655 604 1689
rect 604 1655 642 1689
rect 642 1655 676 1689
rect 570 1617 676 1655
rect 570 1583 604 1617
rect 604 1583 642 1617
rect 642 1583 676 1617
rect 570 1545 676 1583
rect 570 1511 604 1545
rect 604 1511 642 1545
rect 642 1511 676 1545
rect 570 1473 676 1511
rect 570 1439 604 1473
rect 604 1439 642 1473
rect 642 1439 676 1473
rect 570 1401 676 1439
rect 570 1367 604 1401
rect 604 1367 642 1401
rect 642 1367 676 1401
rect 570 1329 676 1367
rect 570 1295 604 1329
rect 604 1295 642 1329
rect 642 1295 676 1329
rect 570 1257 676 1295
rect 570 1223 604 1257
rect 604 1223 642 1257
rect 642 1223 676 1257
rect 570 1185 676 1223
rect 570 1151 604 1185
rect 604 1151 642 1185
rect 642 1151 676 1185
rect 570 1113 676 1151
rect 570 1079 604 1113
rect 604 1079 642 1113
rect 642 1079 676 1113
rect 570 1041 676 1079
rect 570 1007 604 1041
rect 604 1007 642 1041
rect 642 1007 676 1041
rect 570 969 676 1007
rect 570 935 604 969
rect 604 935 642 969
rect 642 935 676 969
rect 570 897 676 935
rect 570 863 604 897
rect 604 863 642 897
rect 642 863 676 897
rect 570 825 676 863
rect 570 791 604 825
rect 604 791 642 825
rect 642 791 676 825
rect 570 753 676 791
rect 570 719 604 753
rect 604 719 642 753
rect 642 719 676 753
rect 570 681 676 719
rect 570 647 604 681
rect 604 647 642 681
rect 642 647 676 681
rect 570 609 676 647
rect 570 575 604 609
rect 604 575 642 609
rect 642 575 676 609
rect 570 537 676 575
rect 570 503 604 537
rect 604 503 642 537
rect 642 503 676 537
rect 570 465 676 503
rect 570 431 604 465
rect 604 431 642 465
rect 642 431 676 465
rect 570 393 676 431
rect 570 359 604 393
rect 604 359 642 393
rect 642 359 676 393
rect 570 321 676 359
rect 570 287 604 321
rect 604 287 642 321
rect 642 287 676 321
rect 570 249 676 287
rect 570 215 604 249
rect 604 215 642 249
rect 642 215 676 249
rect 570 177 676 215
rect 570 143 604 177
rect 604 143 642 177
rect 642 143 676 177
rect 570 105 676 143
rect 570 71 604 105
rect 604 71 642 105
rect 642 71 676 105
<< metal1 >>
rect 184 6130 530 6136
rect 184 6096 196 6130
rect 230 6096 268 6130
rect 302 6096 340 6130
rect 374 6096 412 6130
rect 446 6096 484 6130
rect 518 6096 530 6130
rect 184 6090 530 6096
rect 32 6009 150 6021
rect 32 71 38 6009
rect 144 71 150 6009
rect 32 59 150 71
rect 564 6009 682 6021
rect 564 71 570 6009
rect 676 71 682 6009
rect 564 59 682 71
<< end >>
